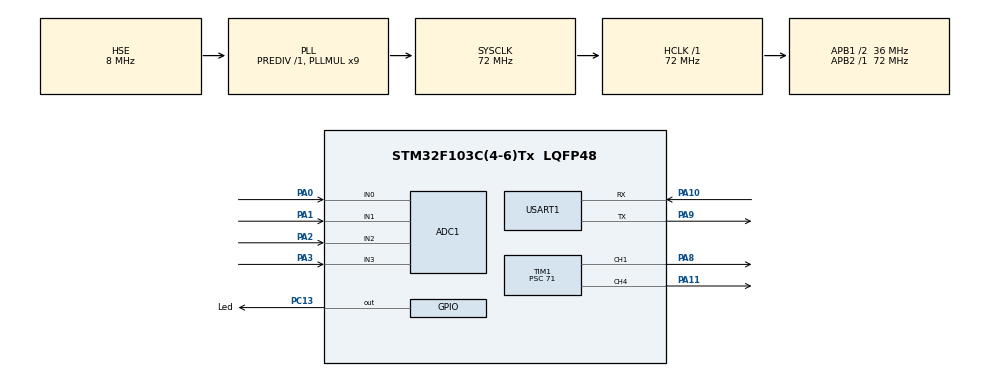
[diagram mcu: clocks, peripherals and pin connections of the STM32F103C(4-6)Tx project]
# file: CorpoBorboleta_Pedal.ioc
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ADC1.Channel-0\#ChannelRegularConversion=ADC_CHANNEL_0
ADC1.Channel-1\#ChannelRegularConversion=ADC_CHANNEL_1
ADC1.Channel-2\#ChannelRegularConversion=ADC_CHANNEL_2
ADC1.Channel-3\#ChannelRegularConversion=ADC_CHANNEL_3
ADC1.ContinuousConvMode=ENABLE
ADC1.NbrOfConversion=4
ADC1.NbrOfConversionFlag=1
ADC1.Rank-0\#ChannelRegularConversion=1
ADC1.Rank-1\#ChannelRegularConversion=2
ADC1.Rank-2\#ChannelRegularConversion=3
ADC1.Rank-3\#ChannelRegularConversion=4
ADC1.SamplingTime-0\#ChannelRegularConversion=ADC_SAMPLETIME_28CYCLES_5
ADC1.SamplingTime-1\#ChannelRegularConversion=ADC_SAMPLETIME_28CYCLES_5
ADC1.SamplingTime-2\#ChannelRegularConversion=ADC_SAMPLETIME_28CYCLES_5
ADC1.SamplingTime-3\#ChannelRegularConversion=ADC_SAMPLETIME_28CYCLES_5
ADC1.master=1
Dma.ADC1.0.Direction=DMA_PERIPH_TO_MEMORY
Dma.ADC1.0.Instance=DMA1_Channel1
Dma.ADC1.0.MemDataAlignment=DMA_MDATAALIGN_HALFWORD
Dma.ADC1.0.MemInc=DMA_MINC_ENABLE
Dma.ADC1.0.Mode=DMA_CIRCULAR
Dma.ADC1.0.PeriphDataAlignment=DMA_PDATAALIGN_HALFWORD
Dma.ADC1.0.PeriphInc=DMA_PINC_DISABLE
Dma.ADC1.0.Priority=DMA_PRIORITY_LOW
Dma.Request0=ADC1
Mcu.Family=STM32F1
Mcu.Name=STM32F103C(4-6)Tx
Mcu.Package=LQFP48
NVIC.DMA1_Channel1_IRQn=true\:0\:0\:false\:false\:true\:false\:true\:true
NVIC.PriorityGroup=NVIC_PRIORITYGROUP_4
NVIC.TIM2_IRQn=true\:0\:0\:false\:false\:true\:true\:true\:true
PA0-WKUP.Signal=ADCx_IN0
PA1.Signal=ADCx_IN1
PA10.Mode=Asynchronous
PA10.Signal=USART1_RX
PA11.Signal=S_TIM1_CH4
PA13.Mode=Serial_Wire
PA13.Signal=SYS_JTMS-SWDIO
PA14.Mode=Serial_Wire
PA14.Signal=SYS_JTCK-SWCLK
PA2.Signal=ADCx_IN2
PA3.Signal=ADCx_IN3
PA8.Signal=S_TIM1_CH1
PA9.Mode=Asynchronous
PA9.Signal=USART1_TX
PC13-TAMPER-RTC.GPIO_Label=Led
PC13-TAMPER-RTC.Signal=GPIO_Output
PD0-OSC_IN.Mode=HSE-External-Oscillator
PD0-OSC_IN.Signal=RCC_OSC_IN
PD1-OSC_OUT.Mode=HSE-External-Oscillator
PD1-OSC_OUT.Signal=RCC_OSC_OUT
ProjectManager.HeapSize=0x200
ProjectManager.StackSize=0x400
ProjectManager.TargetToolchain=STM32CubeIDE
RCC.ADCPresc=RCC_ADCPCLK2_DIV6
RCC.AHBFreq_Value=72000000
RCC.APB1CLKDivider=RCC_HCLK_DIV2
RCC.APB1Freq_Value=36000000
RCC.APB1TimFreq_Value=72000000
RCC.APB2Freq_Value=72000000
RCC.APB2TimFreq_Value=72000000
RCC.HCLKFreq_Value=72000000
RCC.PLLMUL=RCC_PLL_MUL9
RCC.PLLSourceVirtual=RCC_PLLSOURCE_HSE
RCC.SYSCLKFreq_VALUE=72000000
RCC.SYSCLKSource=RCC_SYSCLKSOURCE_PLLCLK
RCC.USBFreq_Value=72000000
SH.ADCx_IN0.0=ADC1_IN0,IN0
SH.ADCx_IN1.0=ADC1_IN1,IN1
SH.ADCx_IN2.0=ADC1_IN2,IN2
SH.ADCx_IN3.0=ADC1_IN3,IN3
SH.S_TIM1_CH1.0=TIM1_CH1,PWM Generation1 CH1
SH.S_TIM1_CH4.0=TIM1_CH4,PWM Generation4 CH4
TIM1.AutoReloadPreload=TIM_AUTORELOAD_PRELOAD_ENABLE
TIM1.Channel-PWM\ Generation1\ CH1=TIM_CHANNEL_1
TIM1.Channel-PWM\ Generation4\ CH4=TIM_CHANNEL_4
TIM1.OCFastMode_PWM-PWM\ Generation1\ CH1=TIM_OCFAST_ENABLE
TIM1.OCFastMode_PWM-PWM\ Generation4\ CH4=TIM_OCFAST_ENABLE
TIM1.Period=500
TIM1.Prescaler=71
TIM2.Prescaler=719
USART1.VirtualMode=VM_ASYNC
VP_TIM1_VS_ClockSourceINT.Mode=Internal
VP_TIM1_VS_ClockSourceITR.Mode=TriggerSource_ITR0
VP_TIM2_VS_ClockSourceINT.Mode=Internal
VP_TIM2_VS_ClockSourceITR.Mode=TriggerSource_ITR0
board=custom

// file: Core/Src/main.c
/* USER CODE BEGIN Header */
/**
  ******************************************************************************
  * @file           : main.c
  * @brief          : Main program body
  ******************************************************************************
  * @attention
  *
  * Copyright (c) 2026 STMicroelectronics.
  * All rights reserved.
  *
  * This software is licensed under terms that can be found in the LICENSE file
  * in the root directory of this software component.
  * If no LICENSE file comes with this software, it is provided AS-IS.
  *
  ******************************************************************************
  */
/* USER CODE END Header */
#include "main.h"

/* USER CODE BEGIN Includes */
#include "stdio.h"
#include "string.h"
#include <stdbool.h>
#include <math.h>
/* USER CODE END Includes */

/* USER CODE BEGIN PTD */
typedef enum {
	desligado=0,
	ligado
}LED_State;

enum {
	AN0 = 0,
	AN1 = 1,
	AN2 = 2,
	AN3 = 3
}ADC_Channel;

typedef enum {
	PosicaoPedal1 = 1,
	PosicaoPedal2 = 2,
	PosicaoBorboleta1 = 3,
	PosicaoBorboleta2 = 4
}NomeSensor;

typedef enum {
	TesteOk = 1,
	TesteNOk = 0
}TesteDosSensores;

/* USER CODE END PTD */

/* USER CODE BEGIN PD */
#define FatorADC 0.0008056640625
#define Fator5V 1.515
#define alpha 0.05
/* USER CODE END PD */

ADC_HandleTypeDef hadc1;
DMA_HandleTypeDef hdma_adc1;

TIM_HandleTypeDef htim1;
TIM_HandleTypeDef htim2;

UART_HandleTypeDef huart1;

/* USER CODE BEGIN PV */
volatile uint16_t ADCBuffer[4];
float voltPedal1 = 0.0;
float voltPedal2 = 0.0;
float voltPotBorboleta1 = 0.0;
float voltPotBorboleta2 = 0.0;
char mensagem[50];
uint16_t PWM_Forward;
uint16_t PWM_Reverse;
float PorcBorboleta = 0.0;
float PorcPedal = 0.0;
float RefPosBorboleta = 60.0;
float set_point = 0.0;

//??????????????????????? CONTROLE --> linear até 40%
float Ts = 0.01;
float Kp = 0.83;
float Ti = 0.00515;
float Td = 0.002;
float u, e, ud, ui, up, ui_ant, ya, y_ant;

/* USER CODE END PV */

void SystemClock_Config(void);
static void MX_GPIO_Init(void);
static void MX_DMA_Init(void);
static void MX_ADC1_Init(void);
static void MX_TIM1_Init(void);
static void MX_USART1_UART_Init(void);
static void MX_TIM2_Init(void);
/* USER CODE BEGIN PFP */
float retornaVolt(uint8_t canalAN);
TesteDosSensores checkPedal(float voltP1, float voltP2);
TesteDosSensores CheckVoltSensor(float TempVoltAtual, NomeSensor Sensor_Testado);
float CalculoPID(float setpoint, float PosMedida);

/* USER CODE END PFP */

int main(void)
{

  /* MCU Configuration--------------------------------------------------------*/

  /* Reset of all peripherals, Initializes the Flash interface and the Systick. */
  HAL_Init();

  /* Configure the system clock */
  SystemClock_Config();

  /* Initialize all configured peripherals */
  MX_GPIO_Init();
  MX_DMA_Init();
  MX_ADC1_Init();
  MX_TIM1_Init();
  MX_USART1_UART_Init();
  MX_TIM2_Init();
  /* USER CODE BEGIN 2 */
  HAL_ADC_Stop(&hadc1); //Desabilita o periférico
  HAL_ADCEx_Calibration_Start(&hadc1);
  HAL_ADC_Start_DMA(&hadc1, (uint32_t *)ADCBuffer, 4);

  __HAL_TIM_ENABLE(&htim1);
  HAL_TIM_PWM_Start(&htim1, TIM_CHANNEL_1);
  HAL_TIM_PWM_Start(&htim1, TIM_CHANNEL_4);

  PWM_Forward = 0;
  PWM_Reverse = 0;

  /* USER CODE END 2 */

  /* Infinite loop */
  /* USER CODE BEGIN WHILE */
  while (1)
  {
	  voltPedal1 = retornaVolt(AN2);
	  voltPedal2 = retornaVolt(AN3);
	  voltPotBorboleta1 = retornaVolt(AN0);
	  voltPotBorboleta2 = retornaVolt(AN1);

	  if(checkPedal(voltPedal1, voltPedal2)== 0){
		  sprintf(mensagem, "FALHA FUNCIONAL NO PEDAL\r\n");
		  HAL_UART_Transmit(&huart1, (uint8_t*)mensagem, strlen(mensagem), 50);
	 }

	  if(CheckVoltSensor(voltPedal1,PosicaoPedal1)==1){
		  PorcPedal = (voltPedal1-0.56)/0.0271;
	  }
	  if(CheckVoltSensor(voltPedal2,PosicaoPedal2)){
		  //em espera
	  }
	  if(CheckVoltSensor(voltPotBorboleta1,PosicaoBorboleta1)==1){
		  PorcBorboleta = (voltPotBorboleta1-0.42)/0.02806;
	  }
	  if(CheckVoltSensor(voltPotBorboleta2,PosicaoBorboleta2)){
		  //em espera
	  }

	 if (PorcPedal < 0.0f) {
		 PorcPedal = 0.0f;
	 } else if (PorcPedal > 100.0f) {
		 PorcPedal = 100.0f;
	 }

	 float pwmPercent = CalculoPID(RefPosBorboleta,PorcBorboleta);
	 PWM_Forward = (uint16_t)(pwmPercent * 1.0f);
	 if(PWM_Forward > 490){PWM_Forward = 490;}
	 else if(PWM_Forward < 1){PWM_Forward = 1;}

	 TIM1->CCR1 = PWM_Forward; //Atualiza o valor do comparador que gera o Duty+
	 TIM1->CCR4 = PWM_Reverse;
HAL_Delay(10);
//HAL_GPIO_TogglePin(Led_GPIO_Port, Led_Pin);

    /* USER CODE END WHILE */

  }
}

void SystemClock_Config(void)
{
  RCC_OscInitTypeDef RCC_OscInitStruct = {0};
  RCC_ClkInitTypeDef RCC_ClkInitStruct = {0};
  RCC_PeriphCLKInitTypeDef PeriphClkInit = {0};

  /** Initializes the RCC Oscillators according to the specified parameters
  * in the RCC_OscInitTypeDef structure.
  */
  RCC_OscInitStruct.OscillatorType = RCC_OSCILLATORTYPE_HSE;
  RCC_OscInitStruct.HSEState = RCC_HSE_ON;
  RCC_OscInitStruct.HSEPredivValue = RCC_HSE_PREDIV_DIV1;
  RCC_OscInitStruct.HSIState = RCC_HSI_ON;
  RCC_OscInitStruct.PLL.PLLState = RCC_PLL_ON;
  RCC_OscInitStruct.PLL.PLLSource = RCC_PLLSOURCE_HSE;
  RCC_OscInitStruct.PLL.PLLMUL = RCC_PLL_MUL9;
  if (HAL_RCC_OscConfig(&RCC_OscInitStruct) != HAL_OK)
  {
    Error_Handler();
  }

  /** Initializes the CPU, AHB and APB buses clocks
  */
  RCC_ClkInitStruct.ClockType = RCC_CLOCKTYPE_HCLK|RCC_CLOCKTYPE_SYSCLK
                              |RCC_CLOCKTYPE_PCLK1|RCC_CLOCKTYPE_PCLK2;
  RCC_ClkInitStruct.SYSCLKSource = RCC_SYSCLKSOURCE_PLLCLK;
  RCC_ClkInitStruct.AHBCLKDivider = RCC_SYSCLK_DIV1;
  RCC_ClkInitStruct.APB1CLKDivider = RCC_HCLK_DIV2;
  RCC_ClkInitStruct.APB2CLKDivider = RCC_HCLK_DIV1;

  if (HAL_RCC_ClockConfig(&RCC_ClkInitStruct, FLASH_LATENCY_2) != HAL_OK)
  {
    Error_Handler();
  }
  PeriphClkInit.PeriphClockSelection = RCC_PERIPHCLK_ADC;
  PeriphClkInit.AdcClockSelection = RCC_ADCPCLK2_DIV6;
  if (HAL_RCCEx_PeriphCLKConfig(&PeriphClkInit) != HAL_OK)
  {
    Error_Handler();
  }
}

static void MX_ADC1_Init(void)
{

  ADC_ChannelConfTypeDef sConfig = {0};

  /** Common config
  */
  hadc1.Instance = ADC1;
  hadc1.Init.ScanConvMode = ADC_SCAN_ENABLE;
  hadc1.Init.ContinuousConvMode = ENABLE;
  hadc1.Init.DiscontinuousConvMode = DISABLE;
  hadc1.Init.ExternalTrigConv = ADC_SOFTWARE_START;
  hadc1.Init.DataAlign = ADC_DATAALIGN_RIGHT;
  hadc1.Init.NbrOfConversion = 4;
  if (HAL_ADC_Init(&hadc1) != HAL_OK)
  {
    Error_Handler();
  }

  /** Configure Regular Channel
  */
  sConfig.Channel = ADC_CHANNEL_0;
  sConfig.Rank = ADC_REGULAR_RANK_1;
  sConfig.SamplingTime = ADC_SAMPLETIME_28CYCLES_5;
  if (HAL_ADC_ConfigChannel(&hadc1, &sConfig) != HAL_OK)
  {
    Error_Handler();
  }

  /** Configure Regular Channel
  */
  sConfig.Channel = ADC_CHANNEL_1;
  sConfig.Rank = ADC_REGULAR_RANK_2;
  if (HAL_ADC_ConfigChannel(&hadc1, &sConfig) != HAL_OK)
  {
    Error_Handler();
  }

  /** Configure Regular Channel
  */
  sConfig.Channel = ADC_CHANNEL_2;
  sConfig.Rank = ADC_REGULAR_RANK_3;
  if (HAL_ADC_ConfigChannel(&hadc1, &sConfig) != HAL_OK)
  {
    Error_Handler();
  }

  /** Configure Regular Channel
  */
  sConfig.Channel = ADC_CHANNEL_3;
  sConfig.Rank = ADC_REGULAR_RANK_4;
  if (HAL_ADC_ConfigChannel(&hadc1, &sConfig) != HAL_OK)
  {
    Error_Handler();
  }

}

static void MX_TIM1_Init(void)
{

  TIM_ClockConfigTypeDef sClockSourceConfig = {0};
  TIM_SlaveConfigTypeDef sSlaveConfig = {0};
  TIM_MasterConfigTypeDef sMasterConfig = {0};
  TIM_OC_InitTypeDef sConfigOC = {0};
  TIM_BreakDeadTimeConfigTypeDef sBreakDeadTimeConfig = {0};

  htim1.Instance = TIM1;
  htim1.Init.Prescaler = 6;
  htim1.Init.CounterMode = TIM_COUNTERMODE_UP;
  htim1.Init.Period = 500;
  htim1.Init.ClockDivision = TIM_CLOCKDIVISION_DIV1;
  htim1.Init.RepetitionCounter = 0;
  htim1.Init.AutoReloadPreload = TIM_AUTORELOAD_PRELOAD_ENABLE;
  if (HAL_TIM_Base_Init(&htim1) != HAL_OK)
  {
    Error_Handler();
  }
  sClockSourceConfig.ClockSource = TIM_CLOCKSOURCE_INTERNAL;
  if (HAL_TIM_ConfigClockSource(&htim1, &sClockSourceConfig) != HAL_OK)
  {
    Error_Handler();
  }
  if (HAL_TIM_PWM_Init(&htim1) != HAL_OK)
  {
    Error_Handler();
  }
  sSlaveConfig.SlaveMode = TIM_SLAVEMODE_DISABLE;
  sSlaveConfig.InputTrigger = TIM_TS_ITR0;
  if (HAL_TIM_SlaveConfigSynchro(&htim1, &sSlaveConfig) != HAL_OK)
  {
    Error_Handler();
  }
  sMasterConfig.MasterOutputTrigger = TIM_TRGO_RESET;
  sMasterConfig.MasterSlaveMode = TIM_MASTERSLAVEMODE_DISABLE;
  if (HAL_TIMEx_MasterConfigSynchronization(&htim1, &sMasterConfig) != HAL_OK)
  {
    Error_Handler();
  }
  sConfigOC.OCMode = TIM_OCMODE_PWM1;
  sConfigOC.Pulse = 0;
  sConfigOC.OCPolarity = TIM_OCPOLARITY_HIGH;
  sConfigOC.OCNPolarity = TIM_OCNPOLARITY_HIGH;
  sConfigOC.OCFastMode = TIM_OCFAST_ENABLE;
  sConfigOC.OCIdleState = TIM_OCIDLESTATE_RESET;
  sConfigOC.OCNIdleState = TIM_OCNIDLESTATE_RESET;
  if (HAL_TIM_PWM_ConfigChannel(&htim1, &sConfigOC, TIM_CHANNEL_1) != HAL_OK)
  {
    Error_Handler();
  }
  if (HAL_TIM_PWM_ConfigChannel(&htim1, &sConfigOC, TIM_CHANNEL_4) != HAL_OK)
  {
    Error_Handler();
  }
  sBreakDeadTimeConfig.OffStateRunMode = TIM_OSSR_DISABLE;
  sBreakDeadTimeConfig.OffStateIDLEMode = TIM_OSSI_DISABLE;
  sBreakDeadTimeConfig.LockLevel = TIM_LOCKLEVEL_OFF;
  sBreakDeadTimeConfig.DeadTime = 0;
  sBreakDeadTimeConfig.BreakState = TIM_BREAK_DISABLE;
  sBreakDeadTimeConfig.BreakPolarity = TIM_BREAKPOLARITY_HIGH;
  sBreakDeadTimeConfig.AutomaticOutput = TIM_AUTOMATICOUTPUT_DISABLE;
  if (HAL_TIMEx_ConfigBreakDeadTime(&htim1, &sBreakDeadTimeConfig) != HAL_OK)
  {
    Error_Handler();
  }
  HAL_TIM_MspPostInit(&htim1);

}

static void MX_TIM2_Init(void)
{

  TIM_ClockConfigTypeDef sClockSourceConfig = {0};
  TIM_SlaveConfigTypeDef sSlaveConfig = {0};
  TIM_MasterConfigTypeDef sMasterConfig = {0};

  htim2.Instance = TIM2;
  htim2.Init.Prescaler = 719;
  htim2.Init.CounterMode = TIM_COUNTERMODE_UP;
  htim2.Init.Period = 65535;
  htim2.Init.ClockDivision = TIM_CLOCKDIVISION_DIV1;
  htim2.Init.AutoReloadPreload = TIM_AUTORELOAD_PRELOAD_DISABLE;
  if (HAL_TIM_Base_Init(&htim2) != HAL_OK)
  {
    Error_Handler();
  }
  sClockSourceConfig.ClockSource = TIM_CLOCKSOURCE_INTERNAL;
  if (HAL_TIM_ConfigClockSource(&htim2, &sClockSourceConfig) != HAL_OK)
  {
    Error_Handler();
  }
  sSlaveConfig.SlaveMode = TIM_SLAVEMODE_DISABLE;
  sSlaveConfig.InputTrigger = TIM_TS_ITR0;
  if (HAL_TIM_SlaveConfigSynchro(&htim2, &sSlaveConfig) != HAL_OK)
  {
    Error_Handler();
  }
  sMasterConfig.MasterOutputTrigger = TIM_TRGO_RESET;
  sMasterConfig.MasterSlaveMode = TIM_MASTERSLAVEMODE_DISABLE;
  if (HAL_TIMEx_MasterConfigSynchronization(&htim2, &sMasterConfig) != HAL_OK)
  {
    Error_Handler();
  }

}

static void MX_USART1_UART_Init(void)
{

  huart1.Instance = USART1;
  huart1.Init.BaudRate = 115200;
  huart1.Init.WordLength = UART_WORDLENGTH_8B;
  huart1.Init.StopBits = UART_STOPBITS_1;
  huart1.Init.Parity = UART_PARITY_NONE;
  huart1.Init.Mode = UART_MODE_TX_RX;
  huart1.Init.HwFlowCtl = UART_HWCONTROL_NONE;
  huart1.Init.OverSampling = UART_OVERSAMPLING_16;
  if (HAL_UART_Init(&huart1) != HAL_OK)
  {
    Error_Handler();
  }

}

static void MX_DMA_Init(void)
{

  /* DMA controller clock enable */
  __HAL_RCC_DMA1_CLK_ENABLE();

  /* DMA interrupt init */
  /* DMA1_Channel1_IRQn interrupt configuration */
  HAL_NVIC_SetPriority(DMA1_Channel1_IRQn, 0, 0);
  HAL_NVIC_EnableIRQ(DMA1_Channel1_IRQn);

}

static void MX_GPIO_Init(void)
{
  GPIO_InitTypeDef GPIO_InitStruct = {0};

  /* GPIO Ports Clock Enable */
  __HAL_RCC_GPIOC_CLK_ENABLE();
  __HAL_RCC_GPIOD_CLK_ENABLE();
  __HAL_RCC_GPIOA_CLK_ENABLE();

  /*Configure GPIO pin Output Level */
  HAL_GPIO_WritePin(Led_GPIO_Port, Led_Pin, GPIO_PIN_RESET);

  /*Configure GPIO pin : Led_Pin */
  GPIO_InitStruct.Pin = Led_Pin;
  GPIO_InitStruct.Mode = GPIO_MODE_OUTPUT_PP;
  GPIO_InitStruct.Pull = GPIO_NOPULL;
  GPIO_InitStruct.Speed = GPIO_SPEED_FREQ_LOW;
  HAL_GPIO_Init(Led_GPIO_Port, &GPIO_InitStruct);

}

/* USER CODE BEGIN 4 */
//**********************************************************************************************************

float retornaVolt(uint8_t canalAN){
	uint32_t somaTemp = 0;
	uint8_t contTemp =0;
	uint16_t mediaTemp = 0;
	while(contTemp<100){
		somaTemp+= ADCBuffer[canalAN];
		HAL_Delay(1);
		contTemp++;
	}
	mediaTemp = somaTemp/100;
	float VoltTemp = (mediaTemp*FatorADC)*Fator5V;
	return VoltTemp;
}

TesteDosSensores checkPedal(float voltP1, float voltP2){
	TesteDosSensores redundant = TesteOk; // Assume inicialmente redundante
    float razaoDiv = fabs(voltP1/voltP2);
    float deviation = razaoDiv / 2.0;
    if (redundant) {
        if (deviation > 0.05f) redundant = TesteNOk; // Gatilho em 5%
    } else {
        if (deviation < 0.04f) redundant = TesteOk; // Reset em 4% (histerese)
    }
    return redundant;
}

TesteDosSensores CheckVoltSensor(float TempVoltAtual, NomeSensor Sensor_Testado){
	TesteDosSensores SinalValido = TesteOk;
    const char *sensorName;

    switch (Sensor_Testado) {
        case PosicaoPedal1:
            sensorName = "PosicaoPedal1";
            break;
        case PosicaoPedal2:
            sensorName = "PosicaoPedal2";
            break;
        case PosicaoBorboleta1:
            sensorName = "PosicaoBorboleta1";
            break;
        case PosicaoBorboleta2:
            sensorName = "PosicaoBorboleta2";
            break;
        default:
            sensorName = "Sensor desconhecido";
            break;
    }

    if (TempVoltAtual > 4.5f) {
        SinalValido = TesteNOk;
        sprintf(mensagem, "Curto para VCC no sensor: %s\r\n", sensorName);
        HAL_UART_Transmit(&huart1, (uint8_t*)mensagem, strlen(mensagem), 50);
    }
    else if (TempVoltAtual < 0.2f) {
        SinalValido = TesteNOk;
        sprintf(mensagem, "Curto para GND no sensor: %s\r\n", sensorName);
        HAL_UART_Transmit(&huart1, (uint8_t*)mensagem, strlen(mensagem), 50);
    }
    else {
        SinalValido = TesteOk;
    }
    return SinalValido;
}

float CalculoPID(float setpoint, float PosMedida){
	set_point = setpoint;
	//if(set_point>50.0){Kp=0.0002;Ti=0.0004;}
	ya = PosMedida;
	e=set_point-ya;
	up = Kp*e;
	ui = (((Kp*Ts)/Ti)*e) + ui_ant;
	ud = ((Kp*Td)/Ts)*(ya-y_ant);

	if(ui>500.0) { ui=500.0; } // condi��o Antiwindup
	else if(ui<-500.0){ui=-500.0;}
		else
		{
		ui_ant = ui;
		y_ant = ya;
		}
	u = up+ui+ud;
	return u;
}
/* USER CODE END 4 */

void Error_Handler(void)
{
  __disable_irq();
  while (1)
  {
  }
}
